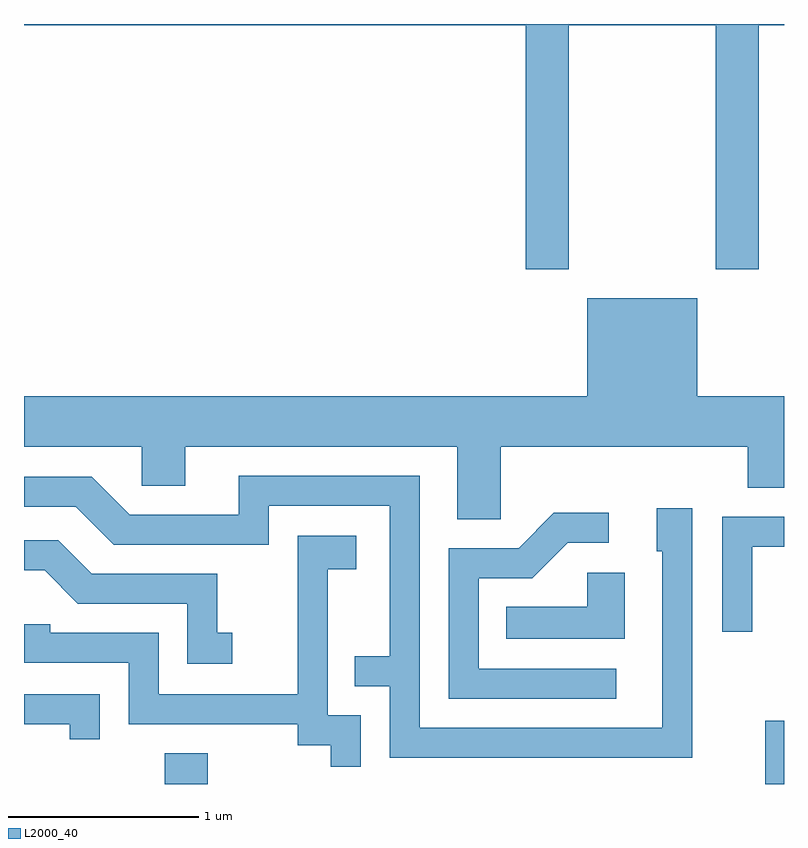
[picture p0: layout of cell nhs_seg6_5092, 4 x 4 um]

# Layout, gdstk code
import gdstk
lib = gdstk.Library(unit=1e-6, precision=1e-09)
def R(c, l, rs):  # rectangles x0, y0, x1, y1
    for r in rs: c.add(gdstk.rectangle(r[:2], r[2:], *l))
def P(c, l, *ps):  # polygons
    for p in ps: c.add(gdstk.Polygon(p, *l))
L2000_40 = (2000, 40)

nhs_seg6_5092 = lib.new_cell('nhs_seg6_5092')
R(nhs_seg6_5092, L2000_40, [(340.351,1648.162,340.579,1648.324), (343.511,1648.162,343.611,1648.494)])
P(nhs_seg6_5092, L2000_40, [(342.479,1652.156),(343.251,1652.156),(343.251,1650.871),(343.479,1650.871),(343.479,1652.156),(343.611,1652.156),(343.611,1652.162),(339.611,1652.162),(339.611,1652.156),(342.251,1652.156),(342.251,1650.871),(342.479,1650.871)],
  [(342.119,1649.936),(343.421,1649.936),(343.421,1649.721),(343.611,1649.721),(343.611,1650.204),(343.154,1650.204),(343.154,1650.719),(342.576,1650.719),(342.576,1650.204),(339.611,1650.204),(339.611,1649.936),(340.231,1649.936),(340.231,1649.731),(340.459,1649.731),(340.459,1649.936),(341.891,1649.936),(341.891,1649.556),(342.119,1649.556)],
  [(343.129,1649.614),(342.941,1649.614),(342.941,1649.386),(342.971,1649.386),(342.971,1648.459),(341.694,1648.459),(341.694,1649.784),(340.741,1649.784),(340.741,1649.579),(340.167,1649.579),(339.967,1649.779),(339.611,1649.779),(339.611,1649.621),(339.884,1649.621),(340.084,1649.421),(340.899,1649.421),(340.899,1649.626),(341.536,1649.626),(341.536,1648.834),(341.353,1648.834),(341.353,1648.676),(341.536,1648.676),(341.536,1648.301),(343.129,1648.301)],
  [(342.728,1648.769),(342.004,1648.769),(342.004,1649.246),(342.287,1649.246),(342.472,1649.431),(342.688,1649.431),(342.688,1649.589),(342.399,1649.589),(342.214,1649.404),(341.846,1649.404),(341.846,1648.611),(342.728,1648.611)],
  [(343.444,1649.411),(343.611,1649.411),(343.611,1649.569),(343.286,1649.569),(343.286,1648.963),(343.444,1648.963)],
  [(341.384,1648.524),(341.209,1648.524),(341.209,1649.291),(341.359,1649.291),(341.359,1649.469),(341.051,1649.469),(341.051,1648.634),(340.319,1648.634),(340.319,1648.959),(339.749,1648.959),(339.749,1649.004),(339.611,1649.004),(339.611,1648.801),(340.161,1648.801),(340.161,1648.476),(341.051,1648.476),(341.051,1648.366),(341.226,1648.366),(341.226,1648.253),(341.384,1648.253)],
  [(340.708,1648.959),(340.629,1648.959),(340.629,1649.269),(339.967,1649.269),(339.792,1649.444),(339.611,1649.444),(339.611,1649.286),(339.719,1649.286),(339.894,1649.111),(340.471,1649.111),(340.471,1648.796),(340.708,1648.796)],
  [(342.774,1649.274),(342.576,1649.274),(342.576,1649.094),(342.148,1649.094),(342.148,1648.926),(342.774,1648.926)],
  [(340.009,1648.634),(339.611,1648.634),(339.611,1648.476),(339.851,1648.476),(339.851,1648.398),(340.009,1648.398)])

lib.write_gds('nhs_seg6_5092.gds')
